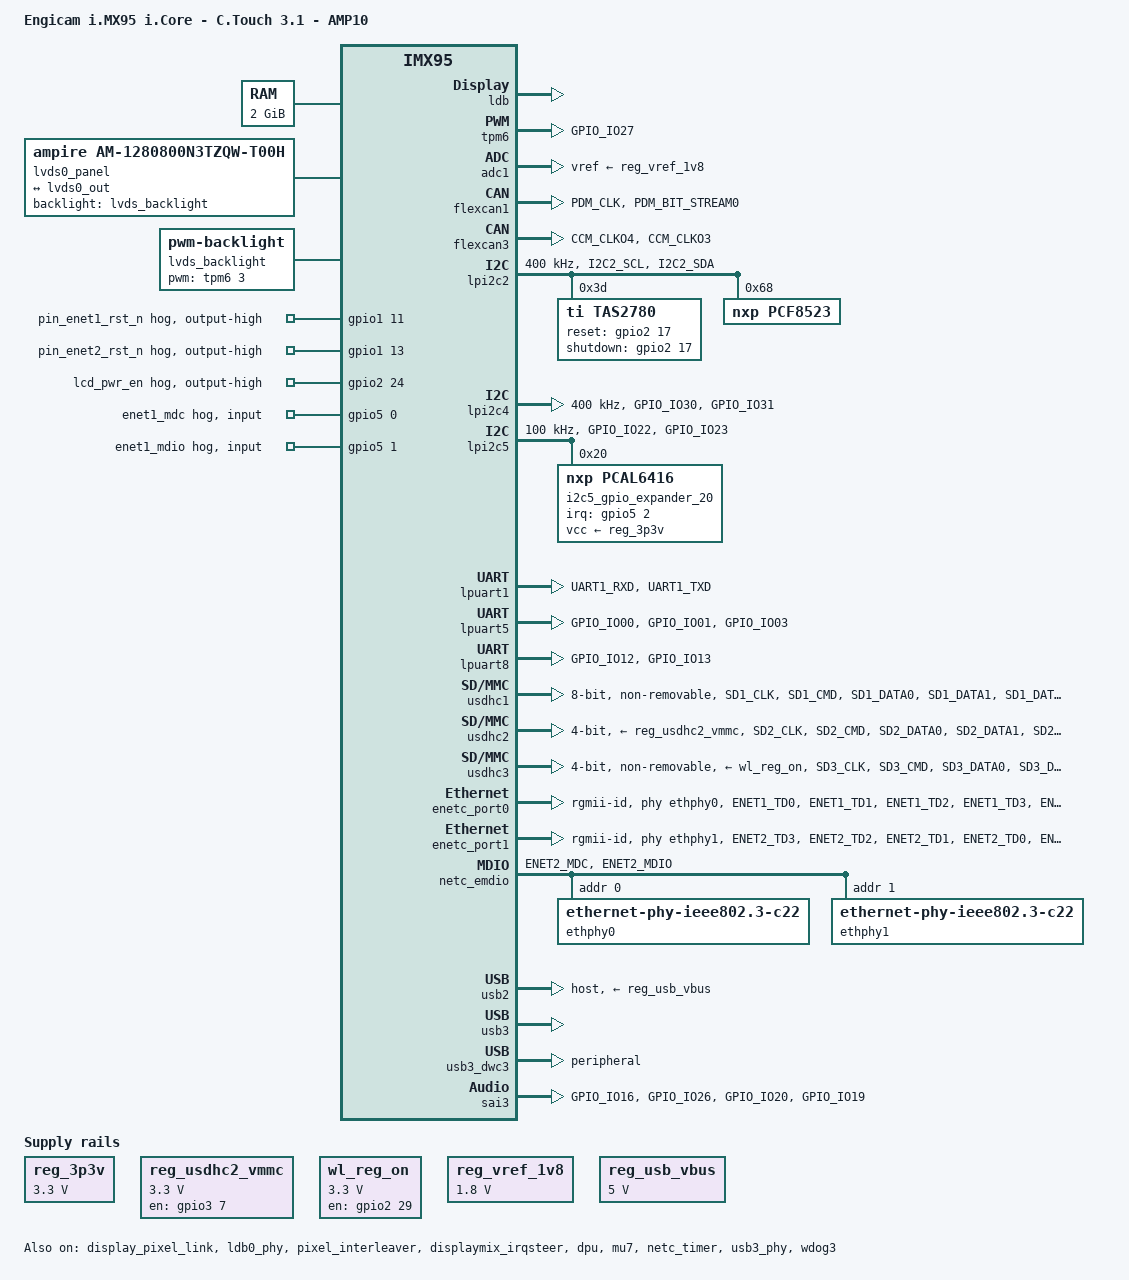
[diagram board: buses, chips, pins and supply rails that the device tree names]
// SPDX-License-Identifier: (GPL-2.0+ OR MIT)
/*
 * Copyright 2023 NXP
 */

/dts-v1/;

#include <dt-bindings/phy/phy-imx8-pcie.h>
#include <dt-bindings/pwm/pwm.h>
#include <dt-bindings/usb/pd.h>
#include <dt-bindings/gpio/gpio.h>
#include <dt-bindings/interrupt-controller/irq.h>
#include <dt-bindings/net/mxl-8611x.h>
#include "../freescale/imx95.dtsi"

#define FALLING_EDGE		BIT(0)
#define RISING_EDGE		BIT(1)

/ {
	model = "Engicam i.MX95 i.Core - C.Touch 3.1 - AMP10";
	compatible = "fsl,imx95-15x15-evk", "fsl,imx95";

	aliases {
		ethernet0 = &enetc_port0;
		ethernet1 = &enetc_port1;
	};

	chosen {
		stdout-path = &lpuart1;
		#address-cells = <2>;
		#size-cells = <2>;
	};

	memory@80000000 {
		device_type = "memory";
		reg = <0x0 0x80000000 0 0x80000000>;
	};

	reserved-memory {
		#address-cells = <2>;
		#size-cells = <2>;
		ranges;

		linux_cma: linux,cma {
			compatible = "shared-dma-pool";
			reusable;
			size = <0 0x3c000000>;
			alloc-ranges = <0 0x80000000 0 0x7F000000>;
			linux,cma-default;
		};

		vpu_boot: vpu_boot@a0000000 {
			reg = <0 0xa0000000 0 0x100000>;
			no-map;
		};

		vdev0vring0: vdev0vring0@88000000 {
			reg = <0 0x88000000 0 0x8000>;
			no-map;
		};

		vdev0vring1: vdev0vring1@88008000 {
			reg = <0 0x88008000 0 0x8000>;
			no-map;
		};

		vdev1vring0: vdev1vring0@88010000 {
			reg = <0 0x88010000 0 0x8000>;
			no-map;
		};

		vdev1vring1: vdev1vring1@88018000 {
			reg = <0 0x88018000 0 0x8000>;
			no-map;
		};

		rsc_table: rsc-table@88220000 {
			reg = <0 0x88220000 0 0x1000>;
			no-map;
		};

		vdevbuffer: vdevbuffer@88020000 {
			compatible = "shared-dma-pool";
			reg = <0 0x88020000 0 0x100000>;
			no-map;
		};
	};

	reg_3p3v: regulator-3p3v {
		compatible = "regulator-fixed";
		regulator-max-microvolt = <3300000>;
		regulator-min-microvolt = <3300000>;
		regulator-name = "+V3.3_SW";
	};

	reg_usdhc2_vmmc: regulator-usdhc2 {
		compatible = "regulator-fixed";
		pinctrl-names = "default";
		pinctrl-0 = <&pinctrl_reg_usdhc2_vmmc>;
		regulator-name = "VDD_SD2_3V3";
		regulator-min-microvolt = <3300000>;
		regulator-max-microvolt = <3300000>;
		gpio = <&gpio3 7 GPIO_ACTIVE_HIGH>;
		off-on-delay-us = <12000>;
		enable-active-high;
	};

	wl_reg_on: regulator-wlregon {
		compatible = "regulator-fixed";
		regulator-name = "WL_REG_ON";
		pinctrl-names = "default";
		regulator-min-microvolt = <3300000>;
		regulator-max-microvolt = <3300000>;
		gpio = <&gpio2 29 GPIO_ACTIVE_HIGH>;
		enable-active-high;
	};

	reg_vref_1v8: regulator-adc-vref {
		compatible = "regulator-fixed";
		regulator-name = "vref_1v8";
		regulator-min-microvolt = <1800000>;
		regulator-max-microvolt = <1800000>;
	};

	reg_usb_vbus: regulator-vbus {
		compatible = "regulator-fixed";
		regulator-name = "USB_VBUS";
		regulator-min-microvolt = <5000000>;
		regulator-max-microvolt = <5000000>;
		enable-active-high;
		regulator-always-on;
	};

	cm7: imx95-cm7 {
		compatible = "fsl,imx95-cm7";
		mbox-names = "tx", "rx", "rxdb";
		mboxes = <&mu7 0 1
			  &mu7 1 1
			  &mu7 3 1>;
		memory-region = <&vdevbuffer>, <&vdev0vring0>, <&vdev0vring1>,
				<&vdev1vring0>, <&vdev1vring1>, <&rsc_table>;
		fsl,startup-delay-ms = <50>;
		status = "okay";
	};

	sound {
		compatible = "simple-audio-card";
		simple-audio-card,name = "tas2780-audio";
		simple-audio-card,format = "i2s";
		simple-audio-card,bitclock-master = <&dailink_master1>;
		simple-audio-card,frame-master = <&dailink_master1>;

		dailink_master1: simple-audio-card,cpu {
			sound-dai = <&sai3>;
		};

		simple-audio-card,codec {
			sound-dai = <&tas2780>;
		};
	};

	lvds0_panel {
		compatible = "ampire,am-1280800n3tzqw-t00h";
		backlight = <&lvds_backlight>;

		port {
			panel_in: endpoint {
				remote-endpoint = <&lvds0_out>;
			};
		};
	};

	lvds_backlight: backlight {
		compatible = "pwm-backlight";
		pwms = <&tpm6 3 100000 0>;
		brightness-levels = < 0  1  2  3  4  5  6  7  8  9
							10 11 12 13 14 15 16 17 18 19
							20 21 22 23 24 25 26 27 28 29
							30 31 32 33 34 35 36 37 38 39
							40 41 42 43 44 45 46 47 48 49
							50 51 52 53 54 55 56 57 58 59
							60 61 62 63 64 65 66 67 68 69
							70 71 72 73 74 75 76 77 78 79
							80 81 82 83 84 85 86 87 88 89
							90 91 92 93 94 95 96 97 98 99
							100>;
		default-brightness-level = <80>;
		pinctrl-names = "default";
		status = "okay";
	};
};

&display_pixel_link {
	status = "okay";
};

&ldb {
	#address-cells = <1>;
	#size-cells = <0>;
	assigned-clocks = <&scmi_clk IMX95_CLK_LDBPLL_VCO>,
			  <&scmi_clk IMX95_CLK_LDBPLL>;
	assigned-clock-rates = <2986200000>, <497700000>;
	status = "okay";

	channel@0 {
		#address-cells = <1>;
		#size-cells = <0>;
		reg = <0>;
		status = "okay";

		port@1 {
			reg = <1>;

			lvds0_out: endpoint {
				remote-endpoint = <&panel_in>;
			};
		};
	};
};

&tpm6 {
	pinctrl-names = "default";
	pinctrl-0 = <&pinctrl_tpm6>;
	status = "okay";
};

&ldb0_phy {
	status = "okay";
};

&pixel_interleaver {
	#address-cells = <1>;
	#size-cells = <0>;
	status = "okay";

	channel@0 {
		reg = <0>;
		status = "okay";
	};
};

&adc1 {
	vref-supply = <&reg_vref_1v8>;
	status = "okay";
};

&displaymix_irqsteer {
	status = "okay";
};

&dpu {
	status = "okay";
};

&flexcan1 {
	pinctrl-names = "default";
	pinctrl-0 = <&pinctrl_flexcan1>;
	status = "okay";
};

&flexcan3 {
	pinctrl-names = "default";
	pinctrl-0 = <&pinctrl_flexcan3>;
	status = "okay";
};

&lpi2c1 {
	/* I2C1 is used for the PMIC? */
	#address-cells = <1>;
	#size-cells = <0>;
	clock-frequency = <400000>;
	pinctrl-names = "default";
	pinctrl-0 = <&pinctrl_lpi2c1>;
	status = "disabled";
};

&lpi2c2 {
	#address-cells = <1>;
	#size-cells = <0>;
	clock-frequency = <400000>;
	pinctrl-names = "default";
	pinctrl-0 = <&pinctrl_lpi2c2>;
	status = "okay";

	tas2780: codec@3d {
		compatible = "ti,tas2780";
		reg = <0x3d>;
		pinctrl-names = "default";
		pinctrl-0 = <&pinctrl_tas2780>;
		#sound-dai-cells = <0>;
		reset-gpios = <&gpio2 17 0>;
		shutdown-gpios = <&gpio2 17 0>;
		ti,imon-slot-no = <0>;
		ti,vmon-slot-no = <2>;
	};

	pcf8523: rtc@68 {
		compatible = "nxp,pcf8523";
		reg = <0x68>;
	};
};

&dphy_rx {
	status = "disabled";
};

&combo_rx {
	status = "disabled";
};

&mipi_csi1 {
	status = "disabled";
};

&csi_pixel_formatter_1 {
	status = "disabled";
};

&isi {
	status = "disabled";
};

&lpi2c4 {
	#address-cells = <1>;
	#size-cells = <0>;
	clock-frequency = <400000>;
	pinctrl-names = "default";
	pinctrl-0 = <&pinctrl_lpi2c4>;
	status = "okay";
};

&lpi2c5 {
	#address-cells = <1>;
	#size-cells = <0>;
	clock-frequency = <100000>;
	pinctrl-names = "default";
	pinctrl-0 = <&pinctrl_lpi2c5>;
	status = "okay";

	i2c5_gpio_expander_20: i2c5-gpio-expander@20 {
		compatible = "nxp,pcal6416";
		#gpio-cells = <2>;
		gpio-controller;
		reg = <0x20>;
		interrupt-controller;
		#interrupt-cells = <2>;
		interrupt-parent = <&gpio5>;
		interrupts = <2 IRQ_TYPE_LEVEL_LOW>;
		pinctrl-names = "default";
		pinctrl-0 = <&pinctrl_pcal6416_20>;
		vcc-supply = <&reg_3p3v>;
		gpio-line-names = "", "", "", "",
						  "se050_en", "", "", "", 
						  "", "", "", "", 
						  "", "", "", "";
	};
};

&lpuart1 {
	/* Debug Console */
	pinctrl-names = "default";
	pinctrl-0 = <&pinctrl_uart1>;
	status = "okay";
};

&lpuart5 {
	/* RS485 */
	pinctrl-names = "default";
	pinctrl-0 = <&pinctrl_uart5>;
	status = "okay";
};

&lpuart8 {
	/* RS232 */
	pinctrl-names = "default";
	pinctrl-0 = <&pinctrl_uart8>;
	status = "okay";
};

&mu7 {
	status = "okay";
};

&usdhc1 {
	pinctrl-names = "default", "state_100mhz", "state_200mhz", "sleep";
	pinctrl-0 = <&pinctrl_usdhc1>;
	pinctrl-1 = <&pinctrl_usdhc1_100mhz>;
	pinctrl-2 = <&pinctrl_usdhc1_200mhz>;
	pinctrl-3 = <&pinctrl_usdhc1>;
	bus-width = <8>;
	non-removable;
	no-sdio;
	no-sd;
	status = "okay";
};

&usdhc2 {
	pinctrl-names = "default", "state_100mhz", "state_200mhz", "sleep";
	pinctrl-0 = <&pinctrl_usdhc2>, <&pinctrl_usdhc2_gpio>;
	pinctrl-1 = <&pinctrl_usdhc2_100mhz>, <&pinctrl_usdhc2_gpio>;
	pinctrl-2 = <&pinctrl_usdhc2_200mhz>, <&pinctrl_usdhc2_gpio>;
	pinctrl-3 = <&pinctrl_usdhc2>, <&pinctrl_usdhc2_gpio>;
	cd-gpios = <&gpio3 00 GPIO_ACTIVE_LOW>;
	vmmc-supply = <&reg_usdhc2_vmmc>;
	max-frequency = <10000000>;
	bus-width = <4>;
	status = "okay";
};

/* WIFI */
&usdhc3 {
	#address-cells = <1>;
	#size-cells = <0>;
	pinctrl-names = "default";
	pinctrl-0 = <&pinctrl_usdhc3>;
	bus-width = <4>;
	no-1-8-v;
	pm-ignore-notify;
	keep-power-in-suspend;
	non-removable;
	vmmc-supply = <&wl_reg_on>;
	status = "okay";
};

&pcie_4ca00000 {
	msi-map = <0x0 &its 0x60 0x1>,	//ENETC0 PF
			<0x10 &its 0x61 0x1>, //ENETC0 VF0
			<0x20 &its 0x62 0x1>, //ENETC0 VF1
			<0x40 &its 0x63 0x1>, //ENETC1 PF
			<0x50 &its 0x65 0x1>, //ENETC1 VF0
			<0x60 &its 0x66 0x1>, //ENETC1 VF1
			<0x80 &its 0x64 0x1>, //ENETC2 PF
			<0xc0 &its 0x67 0x1>; //NETC Timer
};

&enetc_port0 {
	pinctrl-names = "default";
	pinctrl-0 = <&pinctrl_enetc0>;
	phy-handle = <&ethphy0>;
	phy-mode = "rgmii-id";
	status = "okay";
};

&enetc_port1 {
	pinctrl-names = "default";
	pinctrl-0 = <&pinctrl_enetc1>;
	phy-handle = <&ethphy1>;
	phy-mode = "rgmii-id";
	status = "okay";
};

&netc_timer {
	status = "okay";
};

&netc_prb_ierb {
	netc-interfaces = <NXP_NETC_RGMII
					NXP_NETC_RGMII
					NXP_NETC_SERIAL>;
};

&netc_emdio {
	pinctrl-names = "default";
	pinctrl-0 = <&pinctrl_emdio>;
	status = "okay";

	ethphy0: ethernet-phy@0 {
		reg = <0>;
		compatible = "ethernet-phy-ieee802.3-c22";

		mxl-8611x,led0_cfg = <(
			MXL8611X_LEDX_CFG_LINK_UP_RX_ACT_ON |
			MXL8611X_LEDX_CFG_LINK_UP_TX_ACT_ON |
			MXL8611X_LEDX_CFG_TRAFFIC_ACT_BLINK_IND
		)>;
		mxl-8611x,led1_cfg = <(
			MXL8611X_LEDX_CFG_LINK_UP_10MB_ON |
			MXL8611X_LEDX_CFG_LINK_UP_100MB_ON |
			MXL8611X_LEDX_CFG_LINK_UP_1GB_ON
		)>;
	};

	ethphy1: ethernet-phy@1 {
		reg = <1>;
		compatible = "ethernet-phy-ieee802.3-c22";

		mxl-8611x,led0_cfg = <(
			MXL8611X_LEDX_CFG_LINK_UP_RX_ACT_ON |
			MXL8611X_LEDX_CFG_LINK_UP_TX_ACT_ON |
			MXL8611X_LEDX_CFG_TRAFFIC_ACT_BLINK_IND
		)>;
		mxl-8611x,led1_cfg = <(
			MXL8611X_LEDX_CFG_LINK_UP_10MB_ON |
			MXL8611X_LEDX_CFG_LINK_UP_100MB_ON |
			MXL8611X_LEDX_CFG_LINK_UP_1GB_ON
		)>;
	};
};

&usb2 {
	dr_mode = "host";
	vbus-supply = <&reg_usb_vbus>;
	disable-over-current;
	status = "okay";
};


&usb3 {
	status = "okay";
};

&usb3_phy {
	status = "okay";
};

&usb3_dwc3 {
	dr_mode = "peripheral";
	status = "okay";
};

&scmi_iomuxc {

	pinctrl_tpm6: tpm6grp {
		fsl,pins = <
			IMX95_PAD_GPIO_IO27__TPM6_CH3 		0x51e
		>;
	};

	pinctrl_flexcan1: flexcan1grp {
		fsl,pins = <
			IMX95_PAD_PDM_CLK__AONMIX_TOP_CAN1_TX			0x39e
			IMX95_PAD_PDM_BIT_STREAM0__AONMIX_TOP_CAN1_RX	0x39e
		>;
	};

	pinctrl_flexcan3: flexcan3grp {
		fsl,pins = <
			IMX95_PAD_CCM_CLKO4__CAN3_RX			0x39e
			IMX95_PAD_CCM_CLKO3__CAN3_TX			0x39e
		>;
	};

	pinctrl_hp: hpgrp {
		fsl,pins = <
			IMX95_PAD_GPIO_IO11__GPIO2_IO_BIT11		0x31e
		>;
	};

	pinctrl_lpi2c1: lpi2c1grp {
		fsl,pins = <
			IMX95_PAD_I2C1_SCL__AONMIX_TOP_LPI2C1_SCL	0x40000b9e
			IMX95_PAD_I2C1_SDA__AONMIX_TOP_LPI2C1_SDA	0x40000b9e
		>;
	};

	pinctrl_lpi2c2: lpi2c2grp {
		fsl,pins = <
			IMX95_PAD_I2C2_SCL__AONMIX_TOP_LPI2C2_SCL	0x40000b9e
			IMX95_PAD_I2C2_SDA__AONMIX_TOP_LPI2C2_SDA	0x40000b9e
		>;
	};

	pinctrl_lpi2c4: lpi2c4grp {
		fsl,pins = <
			IMX95_PAD_GPIO_IO30__LPI2C4_SDA			0x40000b9e
			IMX95_PAD_GPIO_IO31__LPI2C4_SCL			0x40000b9e
		>;
	};

	pinctrl_lpi2c5: lpi2c5grp {
		fsl,pins = <
			IMX95_PAD_GPIO_IO22__LPI2C5_SDA			0x40000b9e
			IMX95_PAD_GPIO_IO23__LPI2C5_SCL			0x40000b9e
		>;
	};

	pinctrl_uart1: uart1grp {
		fsl,pins = <
			IMX95_PAD_UART1_RXD__AONMIX_TOP_LPUART1_RX      0x31e
			IMX95_PAD_UART1_TXD__AONMIX_TOP_LPUART1_TX      0x31e
		>;
	};

	pinctrl_uart5: uart5grp {
		fsl,pins = <
			IMX95_PAD_GPIO_IO00__LPUART5_TX			0x31e
			IMX95_PAD_GPIO_IO01__LPUART5_RX			0x31e
			IMX95_PAD_GPIO_IO03__LPUART5_RTS_B		0x31e
		>;
	};

	pinctrl_uart8: uart8grp {
		fsl,pins = <
			IMX95_PAD_GPIO_IO12__LPUART8_TX			0x31e
			IMX95_PAD_GPIO_IO13__LPUART8_RX				0x31e
		>;
	};

	pinctrl_emdio: emdiogrp {
		fsl,pins = <
			IMX95_PAD_ENET2_MDC__NETCMIX_TOP_NETC_MDC		0x57e
			IMX95_PAD_ENET2_MDIO__NETCMIX_TOP_NETC_MDIO		0x97e
		>;
	};

	pinctrl_enetc0: enetc0grp {
		fsl,pins = <
			IMX95_PAD_ENET1_TD0__NETCMIX_TOP_ETH0_RGMII_TD0		0x57e
			IMX95_PAD_ENET1_TD1__NETCMIX_TOP_ETH0_RGMII_TD1		0x57e
			IMX95_PAD_ENET1_TD2__NETCMIX_TOP_ETH0_RGMII_TD2		0x57e
			IMX95_PAD_ENET1_TD3__NETCMIX_TOP_ETH0_RGMII_TD3		0x57e
			IMX95_PAD_ENET1_TX_CTL__NETCMIX_TOP_ETH0_RGMII_TX_CTL	0x57e
			IMX95_PAD_ENET1_TXC__NETCMIX_TOP_ETH0_RGMII_TX_CLK	0x58e
			IMX95_PAD_ENET1_RX_CTL__NETCMIX_TOP_ETH0_RGMII_RX_CTL	0x57e
			IMX95_PAD_ENET1_RXC__NETCMIX_TOP_ETH0_RGMII_RX_CLK	0x58e
			IMX95_PAD_ENET1_RD0__NETCMIX_TOP_ETH0_RGMII_RD0		0x57e
			IMX95_PAD_ENET1_RD1__NETCMIX_TOP_ETH0_RGMII_RD1		0x57e
			IMX95_PAD_ENET1_RD2__NETCMIX_TOP_ETH0_RGMII_RD2		0x57e
			IMX95_PAD_ENET1_RD3__NETCMIX_TOP_ETH0_RGMII_RD3		0x57e
			IMX95_PAD_GPIO_IO24__GPIO2_IO_BIT24					0x57e /* ENET1_INT_B */
			IMX95_PAD_SAI1_TXFS__AONMIX_TOP_GPIO1_IO_BIT11		0x31e /* ENET1_RST_N */
		>;
	};

	pinctrl_enetc1: enetc1grp {
		fsl,pins = <
			IMX95_PAD_ENET2_TD3__NETCMIX_TOP_ETH1_RGMII_TD3		0x57e
			IMX95_PAD_ENET2_TD2__NETCMIX_TOP_ETH1_RGMII_TD2		0x57e
			IMX95_PAD_ENET2_TD1__NETCMIX_TOP_ETH1_RGMII_TD1		0x57e
			IMX95_PAD_ENET2_TD0__NETCMIX_TOP_ETH1_RGMII_TD0		0x57e
			IMX95_PAD_ENET2_TX_CTL__NETCMIX_TOP_ETH1_RGMII_TX_CTL	0x57e
			IMX95_PAD_ENET2_TXC__NETCMIX_TOP_ETH1_RGMII_TX_CLK	0x5fe
			IMX95_PAD_ENET2_RX_CTL__NETCMIX_TOP_ETH1_RGMII_RX_CTL	0x57e
			IMX95_PAD_ENET2_RXC__NETCMIX_TOP_ETH1_RGMII_RX_CLK	0x5fe
			IMX95_PAD_ENET2_RD0__NETCMIX_TOP_ETH1_RGMII_RD0		0x57e
			IMX95_PAD_ENET2_RD1__NETCMIX_TOP_ETH1_RGMII_RD1		0x57e
			IMX95_PAD_ENET2_RD2__NETCMIX_TOP_ETH1_RGMII_RD2		0x57e
			IMX95_PAD_ENET2_RD3__NETCMIX_TOP_ETH1_RGMII_RD3		0x57e
			IMX95_PAD_GPIO_IO25__GPIO2_IO_BIT25					0x57e /* ENET2_INT_B */
			IMX95_PAD_SAI1_TXD0__AONMIX_TOP_GPIO1_IO_BIT13		0x31e /* ENET2_RST_N */
		>;
	};

	pinctrl_pcal6416_20: pcal6416grp {
		fsl,pins = <
			IMX95_PAD_XSPI1_DATA2__GPIO5_IO_BIT2			0x31e
		>;
	};

	pinctrl_sai3: sai3grp {
		fsl,pins = <
			IMX95_PAD_GPIO_IO16__SAI3_TX_BCLK			0x31e
			IMX95_PAD_GPIO_IO26__SAI3_TX_SYNC			0x31e
			IMX95_PAD_GPIO_IO20__SAI3_RX_DATA_BIT0			0x31e
			IMX95_PAD_GPIO_IO19__SAI3_TX_DATA_BIT0			0x31e
		>;
	};

	pinctrl_tas2780: tas2780grp {
		fsl,pins = <
			IMX95_PAD_GPIO_IO17__GPIO2_IO_BIT17	0x31e
		>;
	};

	pinctrl_usdhc1: usdhc1grp {
		fsl,pins = <
			IMX95_PAD_SD1_CLK__USDHC1_CLK				0x158e
			IMX95_PAD_SD1_CMD__USDHC1_CMD				0x138e
			IMX95_PAD_SD1_DATA0__USDHC1_DATA0			0x138e
			IMX95_PAD_SD1_DATA1__USDHC1_DATA1			0x138e
			IMX95_PAD_SD1_DATA2__USDHC1_DATA2			0x138e
			IMX95_PAD_SD1_DATA3__USDHC1_DATA3			0x138e
			IMX95_PAD_SD1_DATA4__USDHC1_DATA4			0x138e
			IMX95_PAD_SD1_DATA5__USDHC1_DATA5			0x138e
			IMX95_PAD_SD1_DATA6__USDHC1_DATA6			0x138e
			IMX95_PAD_SD1_DATA7__USDHC1_DATA7			0x138e
			IMX95_PAD_SD1_STROBE__USDHC1_STROBE			0x158e
		>;
	};

	pinctrl_usdhc1_100mhz: usdhc1-100mhzgrp {
		fsl,pins = <
			IMX95_PAD_SD1_CLK__USDHC1_CLK				0x158e
			IMX95_PAD_SD1_CMD__USDHC1_CMD				0x138e
			IMX95_PAD_SD1_DATA0__USDHC1_DATA0			0x138e
			IMX95_PAD_SD1_DATA1__USDHC1_DATA1			0x138e
			IMX95_PAD_SD1_DATA2__USDHC1_DATA2			0x138e
			IMX95_PAD_SD1_DATA3__USDHC1_DATA3			0x138e
			IMX95_PAD_SD1_DATA4__USDHC1_DATA4			0x138e
			IMX95_PAD_SD1_DATA5__USDHC1_DATA5			0x138e
			IMX95_PAD_SD1_DATA6__USDHC1_DATA6			0x138e
			IMX95_PAD_SD1_DATA7__USDHC1_DATA7			0x138e
			IMX95_PAD_SD1_STROBE__USDHC1_STROBE			0x158e
		>;
	};

	pinctrl_usdhc1_200mhz: usdhc1-200mhzgrp {
		fsl,pins = <
			IMX95_PAD_SD1_CLK__USDHC1_CLK				0x15fe
			IMX95_PAD_SD1_CMD__USDHC1_CMD				0x13fe
			IMX95_PAD_SD1_DATA0__USDHC1_DATA0			0x13fe
			IMX95_PAD_SD1_DATA1__USDHC1_DATA1			0x13fe
			IMX95_PAD_SD1_DATA2__USDHC1_DATA2			0x13fe
			IMX95_PAD_SD1_DATA3__USDHC1_DATA3			0x13fe
			IMX95_PAD_SD1_DATA4__USDHC1_DATA4			0x13fe
			IMX95_PAD_SD1_DATA5__USDHC1_DATA5			0x13fe
			IMX95_PAD_SD1_DATA6__USDHC1_DATA6			0x13fe
			IMX95_PAD_SD1_DATA7__USDHC1_DATA7			0x13fe
			IMX95_PAD_SD1_STROBE__USDHC1_STROBE			0x15fe
		>;
	};

	pinctrl_reg_usdhc2_vmmc: regusdhc2vmmcgrp {
		fsl,pins = <
			IMX95_PAD_SD2_RESET_B__GPIO3_IO_BIT7			0x31e
		>;
	};

	pinctrl_usdhc2_gpio: usdhc2gpiogrp {
		fsl,pins = <
			IMX95_PAD_SD2_CD_B__GPIO3_IO_BIT0			0x31e
		>;
	};

	pinctrl_usdhc2: usdhc2grp {
		fsl,pins = <
			IMX95_PAD_SD2_CLK__USDHC2_CLK					0x158e
			IMX95_PAD_SD2_CMD__USDHC2_CMD					0x138e
			IMX95_PAD_SD2_DATA0__USDHC2_DATA0				0x138e
			IMX95_PAD_SD2_DATA1__USDHC2_DATA1				0x138e
			IMX95_PAD_SD2_DATA2__USDHC2_DATA2				0x138e
			IMX95_PAD_SD2_DATA3__USDHC2_DATA3				0x138e
			IMX95_PAD_SD2_VSELECT__USDHC2_VSELECT			0x51e
		>;
	};

	pinctrl_usdhc2_100mhz: usdhc2-100mhzgrp {
		fsl,pins = <
			IMX95_PAD_SD2_CLK__USDHC2_CLK					0x158e
			IMX95_PAD_SD2_CMD__USDHC2_CMD					0x138e
			IMX95_PAD_SD2_DATA0__USDHC2_DATA0				0x138e
			IMX95_PAD_SD2_DATA1__USDHC2_DATA1				0x138e
			IMX95_PAD_SD2_DATA2__USDHC2_DATA2				0x138e
			IMX95_PAD_SD2_DATA3__USDHC2_DATA3				0x138e
			IMX95_PAD_SD2_VSELECT__USDHC2_VSELECT			0x51e
		>;
	};

	pinctrl_usdhc2_200mhz: usdhc2-200mhzgrp {
		fsl,pins = <
			IMX95_PAD_SD2_CLK__USDHC2_CLK					0x15fe
			IMX95_PAD_SD2_CMD__USDHC2_CMD					0x13fe
			IMX95_PAD_SD2_DATA0__USDHC2_DATA0				0x13fe
			IMX95_PAD_SD2_DATA1__USDHC2_DATA1				0x13fe
			IMX95_PAD_SD2_DATA2__USDHC2_DATA2				0x13fe
			IMX95_PAD_SD2_DATA3__USDHC2_DATA3				0x13fe
			IMX95_PAD_SD2_VSELECT__USDHC2_VSELECT			0x51e
		>;
	};

	pinctrl_usdhc3: usdhc3grp {
		fsl,pins = <
			IMX95_PAD_SD3_CLK__USDHC3_CLK					0x158e
			IMX95_PAD_SD3_CMD__USDHC3_CMD					0x138e
			IMX95_PAD_SD3_DATA0__USDHC3_DATA0				0x138e
			IMX95_PAD_SD3_DATA1__USDHC3_DATA1				0x138e
			IMX95_PAD_SD3_DATA2__USDHC3_DATA2				0x138e
			IMX95_PAD_SD3_DATA3__USDHC3_DATA3				0x138e
			IMX95_PAD_GPIO_IO29__GPIO2_IO_BIT29				0x31e /* WL_REG_ON */
		>;
	};

	pinctrl_pcie0: pcie0grp {
		fsl,pins = <
			IMX95_PAD_GPIO_IO18__GPIO2_IO_BIT18			0x31e
		>;
	};
};

&vpuctrl {
	boot = <&vpu_boot>;
	sram = <&sram1>;
};

&wdog3 {
	status = "okay";
};

&sai3 {
    #sound-dai-cells = <0>;
    pinctrl-names = "default";
    pinctrl-0 = <&pinctrl_sai3>;
    assigned-clocks = <&scmi_clk IMX95_CLK_SAI3>;
    assigned-clock-parents = <&scmi_clk IMX95_CLK_AUDIOPLL1>;
    assigned-clock-rates = <12288000>;
    fsl,sai-mclk-direction-output;
    status = "okay";
};

&gpio1 {
	status = "okay";
	gpio-line-names =
		"", "", "", "", "", "", "", "",
		"", "", "", "enet1_rst_n", "", "enet2_rst_n", "", "",
		"", "", "", "", "", "", "", "",
		"", "", "", "", "", "", "", "";

		pin_enet1_rst_n{
			gpio-hog;
			gpios = <11 0>;
			output-high;
		};

		pin_enet2_rst_n{
			gpio-hog;
			gpios = <13 0>;
			output-high;
		};
};

&gpio2 {
	gpio-line-names =
		"", "", "", "", "", "", "", "",
		"", "", "", "", "", "", "", "",
		"", "", "", "", "", "", "", "",
		"LCD_PWR_EN", "", "", "", "", "", "", "";

	LCD_PWR_EN {
		gpio-hog;
		gpios = <24 0>;
		line-name = "lcd_pwr_en";
		output-high;
	};
};

&gpio3 {
	gpio-line-names =
		"", "", "", "", "", "", "", "",
		"", "", "", "", "", "", "", "",
		"", "", "", "", "", "", "", "",
		"", "", "", "", "", "", "", "";
};

&gpio4 {
	gpio-line-names =
		"", "", "", "", "", "", "", "",
		"", "", "", "", "", "", "", "",
		"", "", "", "", "", "", "", "",
		"", "", "", "", "", "", "", "";

};

&gpio5 {
	gpio-line-names =
		"enet1_mdc", "enet1_mdio", "", "", "", "", "", "",
		"", "", "", "", "", "", "", "",
		"", "", "", "", "", "", "", "",
		"", "", "", "", "", "", "", "";

		ENET1_MDC {
			gpio-hog;
			input;
			gpios = <0 0>;
			line-name = "enet1_mdc";
		};

		ENET1_MDIO {
			gpio-hog;
			input;
			gpios = <1 0>;
			line-name = "enet1_mdio";
			};
};
